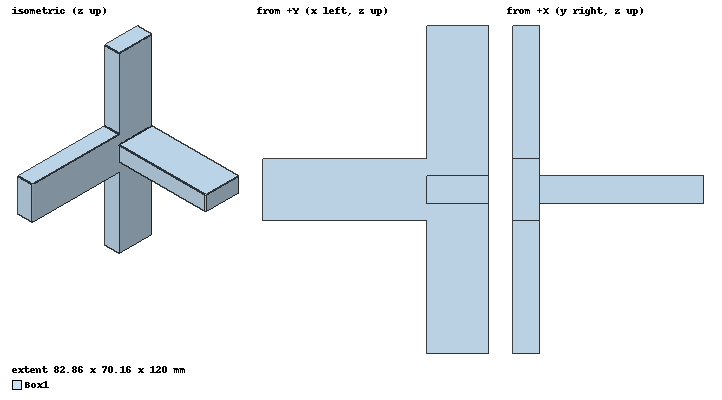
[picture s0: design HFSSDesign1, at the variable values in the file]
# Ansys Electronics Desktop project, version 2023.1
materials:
  vacuum: permittivity=1

design HFSSDesign1 (HFSS, HFSS Modal Network, model units mm)
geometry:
  Box1 [vacuum] = box(corner=(0mm, 0mm, 0mm), size=(22.86mm, 10.16mm, 120mm))
  Box2 = box(corner=(0mm, 10.16mm, (60-10.16/2) mm), size=(22.86mm, 60mm, 10.16mm))
  Box3 = box(corner=(22.86mm, 0mm, (60-22.86/2) mm), size=(60mm, 10.16mm, 22.86mm))
  Box1.unite(Box3, Box2)
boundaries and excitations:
  PerfE1: Perfect E Faces=Box1.face(+y, at (22.86, 5.08, 95.715), at (22.86, 40.16, 60), at (11.43, 40.16, 65.08), at (52.86, 5.08, 71.43), at (22.86, 5.08, 24.285), at (11.43, 40.16, 54.92), -x, -y)
  1: Wave Port Faces=Box1.face(+z) WavePortType=Default NumModes=1 Modes{Mode1{IntLine{(11.43, 0, 120) -> (11.43, 10.16, 120)} CharImp=Zpi}}
  2: Wave Port Faces=Box1.face(-z) WavePortType=Default NumModes=1 Modes{Mode1{IntLine{(11.43, 0, 0) -> (11.43, 10.16, 0)} CharImp=Zpi}}
  3: Wave Port Faces=Box1.face(at (82.86, 5.08, 60)) WavePortType=Default NumModes=1 Modes{Mode1{IntLine{(82.86, 0, 60) -> (82.86, 10.16, 60)} CharImp=Zpi}}
  4: Wave Port Faces=Box1.face(at (11.43, 70.16, 60)) WavePortType=Default NumModes=1 Modes{Mode1{IntLine{(11.43, 70.16, 54.92) -> (11.43, 70.16, 65.08)} CharImp=Zpi}}
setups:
  Setup1: HfssDriven Frequency=9GHz MaxDeltaS=0.02 MaximumPasses=6 MinimumPasses=1 MinimumConvergedPasses=1 PercentRefinement=30 BasisOrder=1 PortAccuracy=2 DrivenSolverType="Direct Solver"
    sweep Sweep: 7GHz to 12GHz, 101 points; Type=Interpolating InterpTolerance=0.5 InterpMaxSolns=250 InterpUsePortImped=false PassivityErrorTolerance=0.0001
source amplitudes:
  1:1, 2:1, 3:1: 0W 0deg
  4:1: 1W 0deg
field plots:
  Mag_E1, Vector_E1: E Field in Box1 on Setup1 : LastAdaptive at Freq=9GHz Phase=0deg
